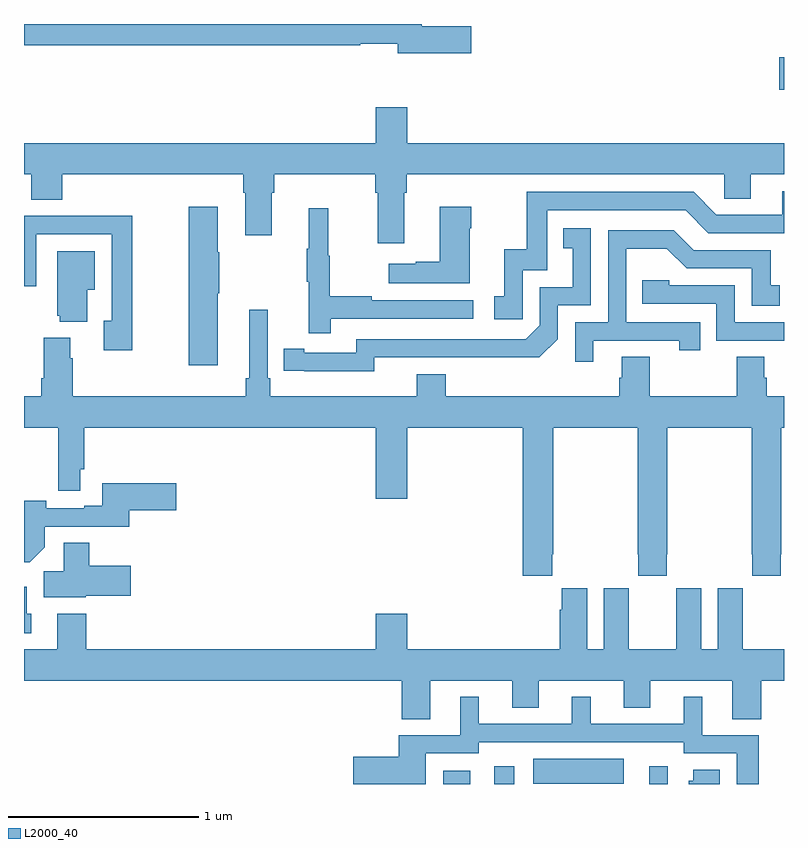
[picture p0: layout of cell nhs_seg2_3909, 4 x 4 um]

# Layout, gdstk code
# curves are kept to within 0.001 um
import gdstk
lib = gdstk.Library(unit=1e-6, precision=1e-09)
def R(c, l, rs):  # rectangles x0, y0, x1, y1
    for r in rs: c.add(gdstk.rectangle(r[:2], r[2:], *l))
def P(c, l, *ps):  # polygons
    for p in ps: c.add(gdstk.Polygon(p, *l))
L2000_40 = (2000, 40)

nhs_seg2_3909 = lib.new_cell('nhs_seg2_3909')
R(nhs_seg2_3909, L2000_40, [(321.206,605.8,321.349,605.869), (321.476,605.8,321.58,605.893), (322.292,605.8,322.389,605.893), (321.681,605.801,322.156,605.932), (322.974,609.455,323,609.626)])
P(nhs_seg2_3909, L2000_40, [(321.355,609.788),(321.094,609.788),(321.094,609.8),(319,609.8),(319,609.688),(320.77,609.688),(320.77,609.696),(320.966,609.696),(320.966,609.646),(321.355,609.646)],
  [(319,609.008),(319.037,609.008),(319.037,608.875),(319.202,608.875),(319.202,609.008),(320.153,609.008),(320.153,608.912),(320.165,608.912),(320.165,608.688),(320.305,608.688),(320.305,608.912),(320.318,608.912),(320.318,609.008),(320.849,609.008),(320.849,608.912),(320.861,608.912),(320.861,608.646),(321.001,608.646),(321.001,608.912),(321.014,608.912),(321.014,609.008),(322.686,609.008),(322.686,608.881),(322.825,608.881),(322.825,609.008),(323,609.008),(323,609.172),(321.016,609.172),(321.016,609.361),(320.852,609.361),(320.852,609.172),(319,609.172)],
  [(321.624,608.505),(321.753,608.505),(321.753,608.82),(322.482,608.82),(322.602,608.7),(323,608.7),(323,608.919),(322.991,608.919),(322.991,608.796),(322.644,608.796),(322.524,608.916),(321.645,608.916),(321.645,608.614),(321.527,608.614),(321.527,608.367),(321.474,608.367),(321.474,608.247),(321.624,608.247)],
  [(320.02,608.383),(320.028,608.383),(320.028,608.6),(320.02,608.6),(320.02,608.839),(319.867,608.839),(319.867,608.004),(320.02,608.004)],
  [(321.346,608.726),(321.354,608.726),(321.354,608.839),(321.188,608.839),(321.188,608.549),(321.062,608.549),(321.062,608.539),(320.919,608.539),(320.919,608.435),(321.346,608.435)],
  [(320.615,608.25),(321.364,608.25),(321.364,608.346),(320.831,608.346),(320.831,608.366),(320.608,608.366),(320.608,608.58),(320.6,608.58),(320.6,608.83),(320.498,608.83),(320.498,608.617),(320.487,608.617),(320.487,608.443),(320.498,608.443),(320.498,608.172),(320.615,608.172)],
  [(319.57,608.792),(319.285,608.792),(319.285,608.79),(319,608.79),(319,608.421),(319.065,608.421),(319.065,608.694),(319.461,608.694),(319.461,608.238),(319.421,608.238),(319.421,608.082),(319.57,608.082)],
  [(320.844,608.046),(321.712,608.045),(321.81,608.142),(321.81,608.319),(321.984,608.319),(321.984,608.725),(321.838,608.725),(321.838,608.619),(321.887,608.619),(321.887,608.415),(321.714,608.415),(321.714,608.214),(321.642,608.142),(320.748,608.142),(320.748,608.07),(320.476,608.07),(320.476,608.09),(320.368,608.09),(320.368,607.974),(320.844,607.973)],
  [(321.997,608.133),(322.448,608.133),(322.448,608.082),(322.559,608.082),(322.559,608.229),(322.17,608.229),(322.17,608.618),(322.384,608.618),(322.488,608.514),(322.83,608.514),(322.83,608.316),(322.978,608.316),(322.978,608.425),(322.929,608.425),(322.929,608.61),(322.525,608.61),(322.42,608.715),(322.074,608.715),(322.074,608.229),(321.9,608.229),(321.9,608.022),(321.997,608.022)],
  [(319.333,608.402),(319.372,608.402),(319.372,608.605),(319.175,608.605),(319.175,608.265),(319.187,608.265),(319.187,608.234),(319.333,608.234)],
  [(323,608.229),(322.74,608.229),(322.74,608.424),(322.395,608.424),(322.395,608.451),(322.255,608.451),(322.255,608.328),(322.644,608.328),(322.644,608.133),(323,608.133)],
  [(321.779,607.009),(321.786,607.009),(321.786,607.676),(322.231,607.676),(322.231,607.009),(322.233,607.009),(322.233,606.897),(322.383,606.897),(322.383,607.009),(322.386,607.009),(322.386,607.676),(322.831,607.676),(322.831,607.009),(322.833,607.009),(322.833,606.897),(322.983,606.897),(322.983,607.009),(322.986,607.009),(322.986,607.676),(323,607.676),(323,607.84),(322.91,607.84),(322.91,607.938),(322.897,607.938),(322.897,608.048),(322.75,608.048),(322.75,607.84),(322.293,607.84),(322.293,608.048),(322.145,608.048),(322.145,607.938),(322.133,607.938),(322.133,607.84),(321.221,607.84),(321.221,607.957),(321.068,607.957),(321.068,607.84),(320.297,607.84),(320.297,607.936),(320.283,607.936),(320.283,608.296),(320.186,608.296),(320.186,607.936),(320.167,607.936),(320.167,607.84),(319.256,607.84),(319.256,608.042),(319.243,608.042),(319.243,608.149),(319.103,608.149),(319.103,607.936),(319.091,607.936),(319.091,607.84),(319,607.84),(319,607.676),(319.18,607.676),(319.18,607.344),(319.296,607.344),(319.296,607.456),(319.316,607.456),(319.316,607.676),(320.852,607.676),(320.852,607.302),(321.016,607.302),(321.016,607.676),(321.626,607.676),(321.626,606.897),(321.779,606.897)],
  [(319.108,607.046),(319.108,607.155),(319.553,607.155),(319.553,607.241),(319.801,607.241),(319.801,607.383),(319.412,607.383),(319.412,607.264),(319.316,607.264),(319.316,607.251),(319.116,607.251),(319.116,607.29),(319,607.29),(319,606.968),(319.03,606.968)],
  [(319.326,606.791),(319.561,606.791),(319.561,606.949),(319.343,606.949),(319.343,607.069),(319.208,607.069),(319.208,606.92),(319.103,606.92),(319.103,606.782),(319.326,606.782)],
  [(319.039,606.696),(319.015,606.696),(319.015,606.838),(319,606.838),(319,606.594),(319.039,606.594)],
  [(321.016,606.697),(320.852,606.697),(320.852,606.508),(319.328,606.508),(319.328,606.697),(319.175,606.697),(319.175,606.508),(319,606.508),(319,606.344),(320.987,606.344),(320.987,606.142),(321.139,606.142),(321.139,606.344),(321.569,606.344),(321.569,606.202),(321.709,606.202),(321.709,606.344),(322.157,606.344),(322.157,606.202),(322.297,606.202),(322.297,606.344),(322.727,606.344),(322.727,606.142),(322.88,606.142),(322.88,606.344),(323,606.344),(323,606.508),(322.783,606.508),(322.783,606.716),(322.782,606.716),(322.782,606.829),(322.652,606.829),(322.652,606.508),(322.564,606.508),(322.564,606.829),(322.434,606.829),(322.434,606.716),(322.433,606.716),(322.433,606.508),(322.183,606.508),(322.183,606.716),(322.182,606.716),(322.182,606.829),(322.052,606.829),(322.052,606.508),(321.964,606.508),(321.964,606.829),(321.83,606.829),(321.83,606.716),(321.821,606.716),(321.821,606.508),(321.016,606.508)],
  [(321.114,605.961),(321.393,605.961),(321.393,606.021),(322.473,606.021),(322.473,605.961),(322.752,605.961),(322.752,605.8),(322.868,605.8),(322.868,606.057),(322.57,606.057),(322.57,606.259),(322.472,606.259),(322.472,606.117),(321.982,606.117),(321.982,606.259),(321.884,606.259),(321.884,606.117),(321.394,606.117),(321.394,606.259),(321.296,606.259),(321.296,606.057),(320.972,606.057),(320.972,605.943),(320.733,605.943),(320.733,605.8),(321.114,605.8)],
  [(322.663,605.875),(322.523,605.875),(322.523,605.817),(322.499,605.817),(322.499,605.8),(322.663,605.8)])

lib.write_gds('nhs_seg2_3909.gds')
